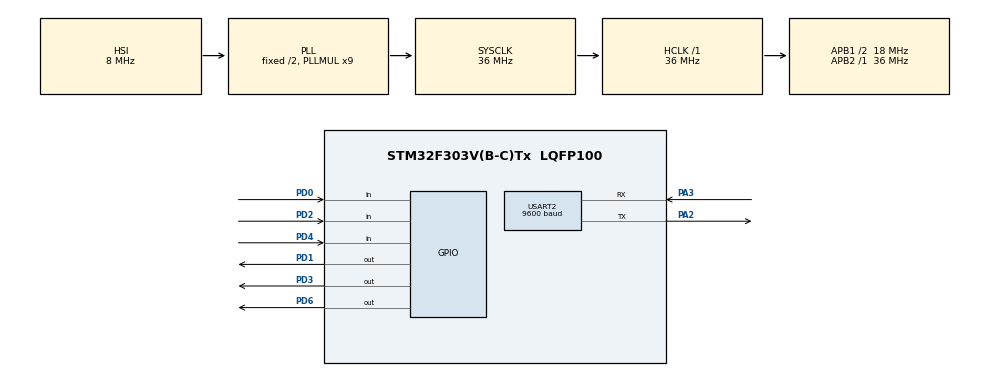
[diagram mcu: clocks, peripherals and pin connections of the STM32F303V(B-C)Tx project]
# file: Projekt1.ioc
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Mcu.Family=STM32F3
Mcu.Name=STM32F303V(B-C)Tx
Mcu.Package=LQFP100
NVIC.PriorityGroup=NVIC_PRIORITYGROUP_4
NVIC.TIM1_TRG_COM_TIM17_IRQn=true\:0\:0\:false\:false\:true\:true\:true
NVIC.TIM1_UP_TIM16_IRQn=true\:0\:0\:false\:false\:true\:true\:true
NVIC.USART2_IRQn=true\:0\:0\:false\:false\:true\:true\:true
PA2.Mode=Asynchronous
PA2.Signal=USART2_TX
PA3.Mode=Asynchronous
PA3.Signal=USART2_RX
PD0.Signal=GPIO_Input
PD1.Signal=GPIO_Output
PD2.Signal=GPIO_Input
PD3.GPIO_PuPd=GPIO_PULLUP
PD3.Signal=GPIO_Output
PD4.Signal=GPIO_Input
PD6.Signal=GPIO_Output
ProjectManager.HeapSize=0x200
ProjectManager.StackSize=0x400
ProjectManager.TargetToolchain=STM32CubeIDE
RCC.AHBFreq_Value=36000000
RCC.APB1CLKDivider=RCC_HCLK_DIV2
RCC.APB1Freq_Value=18000000
RCC.APB1TimFreq_Value=36000000
RCC.APB2Freq_Value=36000000
RCC.APB2TimFreq_Value=36000000
RCC.CortexFreq_Value=36000000
RCC.HCLKFreq_Value=36000000
RCC.HSE_VALUE=8000000
RCC.HSI_VALUE=8000000
RCC.PLLMUL=RCC_PLL_MUL9
RCC.SYSCLKFreq_VALUE=36000000
RCC.SYSCLKSourceVirtual=RCC_SYSCLKSOURCE_PLLCLK
RCC.USBFreq_Value=36000000
TIM16.AutoReloadPreload=TIM_AUTORELOAD_PRELOAD_ENABLE
TIM16.Period=59999
TIM16.Prescaler=35999
TIM17.Period=9999
TIM17.Prescaler=17999
USART2.BaudRate=9600
USART2.VirtualMode-Asynchronous=VM_ASYNC
VP_TIM16_VS_ClockSourceINT.Mode=Enable_Timer
VP_TIM17_VS_ClockSourceINT.Mode=Enable_Timer
board=custom

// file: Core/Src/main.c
/* USER CODE BEGIN Header */
/*!
 * @file main.c
 *
 * @mainpage Inteligentny dom
 *
 * @section Strona Strona początkowa
 *
 * Dokumentacja projektu inteligentny dom
 *
 *W projekcie używam plytki STM32 F3 Discovery
 *Używam modółów DHT-11 pomiar temperatury i wilgotnosci,HC-05 moduł bluetooh,
 *alarm (buzzer) , czyjnik ruchy, czujnik natężenia swiatła.
 *
 * @section author Author
 *
 * Written by Hubert Leszczyński.
 */
/**
 *
  ******************************************************************************
  * @file           : main.c
  * @brief          : Main program body
  ******************************************************************************
  * @attention
  *
  * <h2><center>&copy; Copyright (c) 2020 STMicroelectronics.
  * All rights reserved.</center></h2>
  *
  * This software component is licensed by ST under BSD 3-Clause license,
  * the "License"; You may not use this file except in compliance with the
  * License. You may obtain a copy of the License at:
  *                        opensource.org/licenses/BSD-3-Clause
  *
  ******************************************************************************
  */
/* USER CODE END Header */
#include "main.h"

/* USER CODE BEGIN Includes */
#include <stdio.h>
#include <string.h>
#include "DHT.h"
/* USER CODE END Includes */

TIM_HandleTypeDef htim16;
TIM_HandleTypeDef htim17;

UART_HandleTypeDef huart2;

/* USER CODE BEGIN PV */

DHT_DataTypedef DHT;   //Struktura przechowywująca pomiary temperatury i wilgotnoisci
uint8_t znak;			//zmienna typu uint8_t do przechowywania znaku pobranego z uarta
char komunikat[100];	//zapisana wiadomość do wys łania uartem
typedef enum { F, T } boolean;  	//zmianny typu bool
boolean is_led_on=F;				//zmianna pokazujaca czy swiatło jest włączone
boolean alarm_test=F;				//zmienna pokazujacza czy test alarmu jest w łączony
uint8_t temperature_fan_on=20;   //temperatura po wyzej ktorej włącza sie wiatrak
/* USER CODE END PV */

void SystemClock_Config(void);
static void MX_GPIO_Init(void);
static void MX_USART2_UART_Init(void);
static void MX_TIM16_Init(void);
static void MX_TIM17_Init(void);

/* USER CODE BEGIN 0 */
/**
 * Funkcja która włączącza swiatło ustawia stan wyjsciowy wysoki
 */
void led_on(void)
{
	HAL_GPIO_WritePin (GPIOD, GPIO_PIN_1,GPIO_PIN_SET); // turn on LED
}
/**
 * Funkcja która wyłączącza swiatło ustawia stan wyjsciowy niski
 */
void led_off(void)
{
	HAL_GPIO_WritePin (GPIOD, GPIO_PIN_1,GPIO_PIN_RESET); // turn off LED
}
/**
 * Funkcja obsługująca włączanie\wyłączanie swiatła w zależności czy uzytkownik włączył swiatło z telefonu,
 * lub czy któryś z czujnikow wysłał stan wysoki
 * pin D0 czujnik zmierzchu
 * pin D4 czujnik ruchu
 */
void light_sensor(void)
{
	if(is_led_on==T)
	{
		led_on();
	}
	else if (HAL_GPIO_ReadPin(GPIOD, GPIO_PIN_0)||HAL_GPIO_ReadPin(GPIOD, GPIO_PIN_4)) // if the pin is HIGH
	{
		led_on();
	}
	else
	{
		led_off();
	}
}
/**
 * Funkcja która włączącza alarm, ustawia stan wyjsciowy niski
 */
void buzzer_on(void)
{
	HAL_GPIO_WritePin (GPIOD, GPIO_PIN_3,GPIO_PIN_RESET); // turn on buzzer
}
/**
 * Funkcja która wyłączącza alarm, ustawia stan wyjsciowy wysoki
 */
void buzzer_off(void)
{
	HAL_GPIO_WritePin (GPIOD, GPIO_PIN_3,GPIO_PIN_SET); // turn off buzzer
}
/**
 * Funkcja obsługująca włączanie\wyłączanie alarmu w zależności czy uzytkownik włączył test alarmu,
 * lub czy czujnik dymu nie przysłał stanu niskiego oznaczajacego wykrycie dymu
 * pin D2 czujnik dymu
 */
void gas_sensor(void)
{
	if(alarm_test==F)
	{
		if (!HAL_GPIO_ReadPin(GPIOD, GPIO_PIN_2)) // if the pin is LOW
		{
			buzzer_on();
		}
		else
		{
			buzzer_off();
		}
	}
	else
	{
		buzzer_on();
	}
}
/**
 * Funkcja obsługująca włączanie\wyłączanie wiatraka w zależności jaka temperatura została zmierzona
 * pin D6 wyjscie do tranzystora
 */
void fan_device(void)
{
	if(DHT.Temperature>temperature_fan_on)
	{
		HAL_GPIO_WritePin (GPIOD, GPIO_PIN_6,GPIO_PIN_SET);
	}
	else
	{
		HAL_GPIO_WritePin (GPIOD, GPIO_PIN_6,GPIO_PIN_RESET);
	}
}

/* USER CODE END 0 */

int main(void)
{

  /* MCU Configuration--------------------------------------------------------*/

  /* Reset of all peripherals, Initializes the Flash interface and the Systick. */
  HAL_Init();

  /* Configure the system clock */
  SystemClock_Config();

  /* Initialize all configured peripherals */
  MX_GPIO_Init();
  MX_USART2_UART_Init();
  MX_TIM16_Init();
  MX_TIM17_Init();
  /* USER CODE BEGIN 2 */
  //inicjalizacja przerwania uart
  HAL_UART_Receive_IT(&huart2,&znak, 1);
  //inicjalizacja przerwania timer
  HAL_TIM_Base_Start_IT(&htim16);
  /* USER CODE END 2 */

  /* Infinite loop */
  /* USER CODE BEGIN WHILE */
  while (1)
  {
	 light_sensor();
	 gas_sensor();

    /* USER CODE END WHILE */

  }
}

void SystemClock_Config(void)
{
  RCC_OscInitTypeDef RCC_OscInitStruct = {0};
  RCC_ClkInitTypeDef RCC_ClkInitStruct = {0};
  RCC_PeriphCLKInitTypeDef PeriphClkInit = {0};

  /** Initializes the RCC Oscillators according to the specified parameters
  * in the RCC_OscInitTypeDef structure.
  */
  RCC_OscInitStruct.OscillatorType = RCC_OSCILLATORTYPE_HSI;
  RCC_OscInitStruct.HSIState = RCC_HSI_ON;
  RCC_OscInitStruct.HSICalibrationValue = RCC_HSICALIBRATION_DEFAULT;
  RCC_OscInitStruct.PLL.PLLState = RCC_PLL_ON;
  RCC_OscInitStruct.PLL.PLLSource = RCC_PLLSOURCE_HSI;
  RCC_OscInitStruct.PLL.PLLMUL = RCC_PLL_MUL9;
  if (HAL_RCC_OscConfig(&RCC_OscInitStruct) != HAL_OK)
  {
    Error_Handler();
  }
  /** Initializes the CPU, AHB and APB buses clocks
  */
  RCC_ClkInitStruct.ClockType = RCC_CLOCKTYPE_HCLK|RCC_CLOCKTYPE_SYSCLK
                              |RCC_CLOCKTYPE_PCLK1|RCC_CLOCKTYPE_PCLK2;
  RCC_ClkInitStruct.SYSCLKSource = RCC_SYSCLKSOURCE_PLLCLK;
  RCC_ClkInitStruct.AHBCLKDivider = RCC_SYSCLK_DIV1;
  RCC_ClkInitStruct.APB1CLKDivider = RCC_HCLK_DIV2;
  RCC_ClkInitStruct.APB2CLKDivider = RCC_HCLK_DIV1;

  if (HAL_RCC_ClockConfig(&RCC_ClkInitStruct, FLASH_LATENCY_1) != HAL_OK)
  {
    Error_Handler();
  }
  PeriphClkInit.PeriphClockSelection = RCC_PERIPHCLK_USART2;
  PeriphClkInit.Usart2ClockSelection = RCC_USART2CLKSOURCE_PCLK1;
  if (HAL_RCCEx_PeriphCLKConfig(&PeriphClkInit) != HAL_OK)
  {
    Error_Handler();
  }
}

static void MX_TIM16_Init(void)
{

  htim16.Instance = TIM16;
  htim16.Init.Prescaler = 35999;
  htim16.Init.CounterMode = TIM_COUNTERMODE_UP;
  htim16.Init.Period = 59999;
  htim16.Init.ClockDivision = TIM_CLOCKDIVISION_DIV1;
  htim16.Init.RepetitionCounter = 0;
  htim16.Init.AutoReloadPreload = TIM_AUTORELOAD_PRELOAD_ENABLE;
  if (HAL_TIM_Base_Init(&htim16) != HAL_OK)
  {
    Error_Handler();
  }

}

static void MX_TIM17_Init(void)
{

  htim17.Instance = TIM17;
  htim17.Init.Prescaler = 17999;
  htim17.Init.CounterMode = TIM_COUNTERMODE_UP;
  htim17.Init.Period = 9999;
  htim17.Init.ClockDivision = TIM_CLOCKDIVISION_DIV1;
  htim17.Init.RepetitionCounter = 0;
  htim17.Init.AutoReloadPreload = TIM_AUTORELOAD_PRELOAD_DISABLE;
  if (HAL_TIM_Base_Init(&htim17) != HAL_OK)
  {
    Error_Handler();
  }

}

static void MX_USART2_UART_Init(void)
{

  huart2.Instance = USART2;
  huart2.Init.BaudRate = 9600;
  huart2.Init.WordLength = UART_WORDLENGTH_8B;
  huart2.Init.StopBits = UART_STOPBITS_1;
  huart2.Init.Parity = UART_PARITY_NONE;
  huart2.Init.Mode = UART_MODE_TX_RX;
  huart2.Init.HwFlowCtl = UART_HWCONTROL_NONE;
  huart2.Init.OverSampling = UART_OVERSAMPLING_16;
  huart2.Init.OneBitSampling = UART_ONE_BIT_SAMPLE_DISABLE;
  huart2.AdvancedInit.AdvFeatureInit = UART_ADVFEATURE_NO_INIT;
  if (HAL_UART_Init(&huart2) != HAL_OK)
  {
    Error_Handler();
  }

}

static void MX_GPIO_Init(void)
{
  GPIO_InitTypeDef GPIO_InitStruct = {0};

  /* GPIO Ports Clock Enable */
  __HAL_RCC_GPIOA_CLK_ENABLE();
  __HAL_RCC_GPIOD_CLK_ENABLE();

  /*Configure GPIO pin Output Level */
  HAL_GPIO_WritePin(GPIOD, GPIO_PIN_1|GPIO_PIN_3|GPIO_PIN_6, GPIO_PIN_RESET);

  /*Configure GPIO pins : PD0 PD2 PD4 */
  GPIO_InitStruct.Pin = GPIO_PIN_0|GPIO_PIN_2|GPIO_PIN_4;
  GPIO_InitStruct.Mode = GPIO_MODE_INPUT;
  GPIO_InitStruct.Pull = GPIO_NOPULL;
  HAL_GPIO_Init(GPIOD, &GPIO_InitStruct);

  /*Configure GPIO pins : PD1 PD6 */
  GPIO_InitStruct.Pin = GPIO_PIN_1|GPIO_PIN_6;
  GPIO_InitStruct.Mode = GPIO_MODE_OUTPUT_PP;
  GPIO_InitStruct.Pull = GPIO_NOPULL;
  GPIO_InitStruct.Speed = GPIO_SPEED_FREQ_LOW;
  HAL_GPIO_Init(GPIOD, &GPIO_InitStruct);

  /*Configure GPIO pin : PD3 */
  GPIO_InitStruct.Pin = GPIO_PIN_3;
  GPIO_InitStruct.Mode = GPIO_MODE_OUTPUT_PP;
  GPIO_InitStruct.Pull = GPIO_PULLUP;
  GPIO_InitStruct.Speed = GPIO_SPEED_FREQ_LOW;
  HAL_GPIO_Init(GPIOD, &GPIO_InitStruct);

}

/* USER CODE BEGIN 4 */

/**
 * Funkcja obsługujaca przerwanie uart
 * Stosowany do obsługi komunikacji bluetooth.
 * @param huart wskaźnik na zmienną która zgłosiła przerwanie
 */
void HAL_UART_RxCpltCallback(UART_HandleTypeDef *huart)
{
	//sprawdzanie któe przerwanie przyszło z usart2 czyli bluetooth.
	if(huart->Instance==USART2)
	{
		//włącznie swiatła
		if(znak==1)
		{

			is_led_on=T;
			sprintf(komunikat,"-LED_ON.\n");
			HAL_UART_Transmit_IT(&huart2,(uint8_t*)komunikat,strlen(komunikat));
		}
		//wyłącznie swiatła
		else if(znak==0)
		{
			is_led_on=F;
			HAL_GPIO_WritePin (GPIOD, GPIO_PIN_6,GPIO_PIN_RESET);
			sprintf(komunikat,"-LED_OFF.\n");
			HAL_UART_Transmit_IT(&huart2,(uint8_t*)komunikat,strlen(komunikat));
		}
		//pomiar temperatury i wysłamnie wartosci na telefon
		else if(znak==2)
		{	DHT_GetData(&DHT);
		    fan_device();
			sprintf(komunikat,"-TEMPERATURA:%d.\n",(int)DHT.Temperature);
		    HAL_UART_Transmit_IT(&huart2,(uint8_t*)komunikat,strlen(komunikat));
		}
		//pomiar wilgotnosci i wysłamnie wartosci na telefon
		else if(znak==3)
		{	DHT_GetData(&DHT);
			sprintf(komunikat,"-WILGOTNOSC:%d.\n",(int)DHT.Humidity);
			HAL_UART_Transmit_IT(&huart2,(uint8_t*)komunikat,strlen(komunikat));
		}
		//włącznie alarmu testowego i włączenie timera
		else if(znak==4)
		{
			alarm_test=T;
			HAL_TIM_Base_Start_IT(&htim17);
			sprintf(komunikat,"-TEST_ALARMU.\n");
			HAL_UART_Transmit_IT(&huart2,(uint8_t*)komunikat,strlen(komunikat));
		}

		//oczekiwanie na kolejny przesłaną wiadomosc
		HAL_UART_Receive_IT(&huart2,&znak, 1);
	}
}

/**
 * * Funkcja obsługujaca przerwanie timerów
 * @param htim wskaźnik na zmienną zgłaszającą przerwanie
 */
void HAL_TIM_PeriodElapsedCallback(TIM_HandleTypeDef *htim)
{
	//wysyłanie pomiaru temperatury co 1 min
	if(htim->Instance==TIM16)
	{
		DHT_GetData(&DHT);
		sprintf(komunikat,"-TEMPERATURA:%d\n WILGOTNOSC:%d.\n",(int)DHT.Temperature,(int)DHT.Humidity);
		HAL_UART_Transmit_IT(&huart2,(uint8_t*)komunikat,strlen(komunikat));
	}
	//po czasie 5 sekund wyłączanie alarmu
	if(htim->Instance==TIM17)
		{
		alarm_test=F;
		}
}
/* USER CODE END 4 */

void Error_Handler(void)
{
}

/************************ (C) COPYRIGHT STMicroelectronics *****END OF FILE****/
